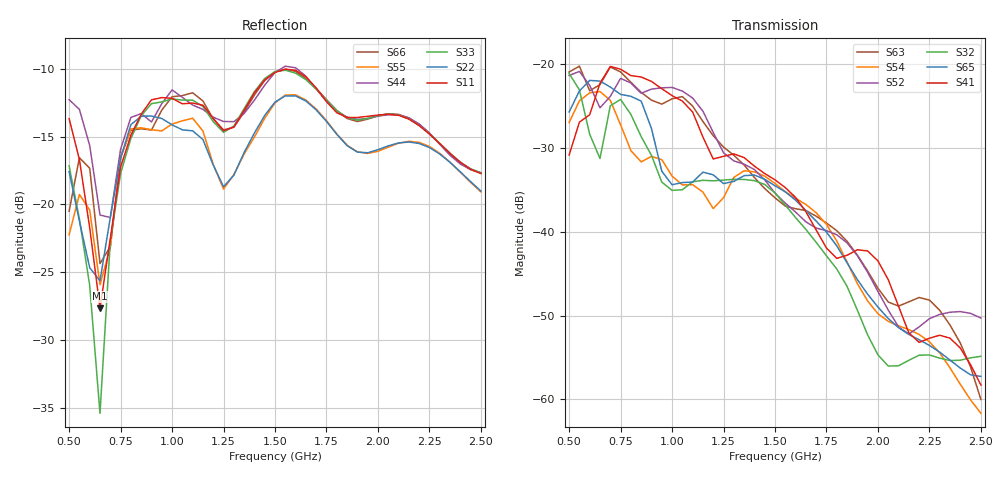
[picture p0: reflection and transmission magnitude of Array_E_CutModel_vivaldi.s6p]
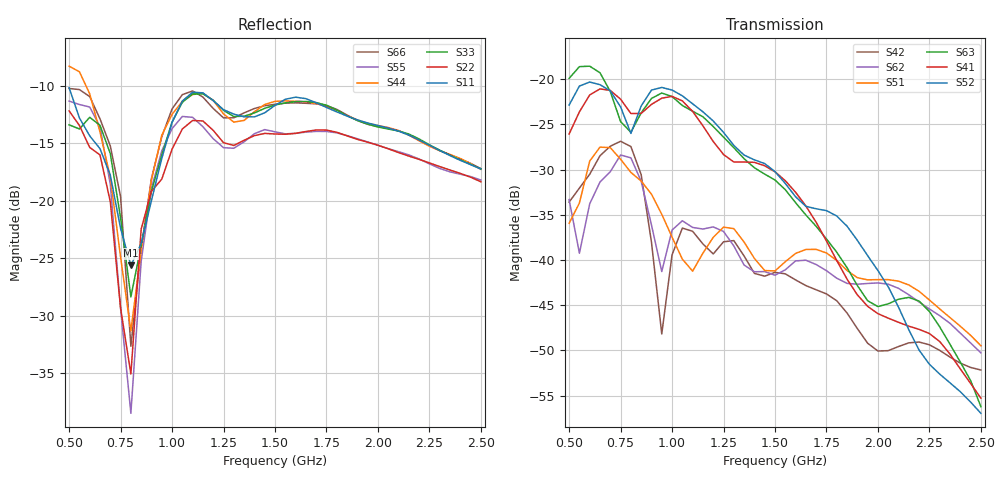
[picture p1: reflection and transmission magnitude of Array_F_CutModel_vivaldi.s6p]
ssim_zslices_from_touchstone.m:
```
% SSIM between FULL and EMPTY reconstructions, per z-slice, reading .s6p files.
% Standalone version: no MERIT.* calls needed.
% Run from:  cd ~/Desktop/MERIT ;  ssim_zslices_from_touchstone

clear; clc;

%% ------------------ Folder & file discovery ------------------
Folder   = pwd;
ants_file = fullfile(Folder,'antenna_locations.csv');

% Expected names (Empty = E, Full = F). If F missing, pick any other .s6p
s6p_empty = fullfile(Folder,'Array_E_CutModel_vivaldi.s6p');
s6p_full  = fullfile(Folder,'Array_F_CutModel_vivaldi.s6p');

if ~isfile(s6p_empty)
    error('Missing %s in %s (Empty case).', 'Array_E_CutModel_vivaldi.s6p', Folder);
end
if ~isfile(s6p_full)
    d = dir(fullfile(Folder,'*.s6p'));
    alt = setdiff(string(fullfile({d.folder},{d.name})), string(s6p_empty));
    if isempty(alt)
        error('Full .s6p not found. Expected Array_F_CutModel_vivaldi.s6p or another .s6p besides the E file.');
    end
    s6p_full = char(alt(1));
    fprintf('WARNING: using %s as FULL (Array_F_CutModel_vivaldi.s6p not found).\n', s6p_full);
end

%% ------------------ Imaging domain (ellipse "cut" model) ------------------
a = 0.1064;         % X semi-axis (m)
b = 0.1705;         % Y semi-axis (m)
height = 0.15;      % Z extent (m)
resolution = 2e-3;  % voxel spacing (m)
cutY = 0.140;       % crop in Y (m)

% Medium & slices
epsilon_r = 19.72;             % real relative permittivity
c0 = 299792458;                % m/s
v  = c0 / sqrt(epsilon_r);     % wave speed in medium
z_vals = 0:0.01:height;        % slices to evaluate

% Optional S-parameter magnitude floor (in dB)
threshold_dB = -50;            % set [] to disable

% Output GIFs
gif_ssim_maps    = fullfile(Folder,'ssim_maps.gif');
gif_full_slices  = fullfile(Folder,'full_slices.gif');
gif_empty_slices = fullfile(Folder,'empty_slices.gif');

%% ------------------ Load Touchstone with RF Toolbox ----------------------
try
    S_F = sparameters(s6p_full);
    S_E = sparameters(s6p_empty);
catch ME
    error(['Failed to read .s6p via RF Toolbox (sparameters). ' ...
           'Toolbox not found or file parse error.\n%s'], ME.message);
end

frequencies = S_F.Frequencies(:);                 % Hz
assert(isequal(size(S_E.Frequencies), size(frequencies)) && ...
       all(abs(S_E.Frequencies - frequencies) < 1e-9), ...
       'Full and Empty .s6p must share the same frequency grid.');

SF = S_F.Parameters;   % [6 x 6 x Nf] complex
SE = S_E.Parameters;

% Optional magnitude floor
if ~isempty(threshold_dB)
    SFdB = 20*log10(abs(SF));  SF(SFdB < threshold_dB) = 0;
    SEdB = 20*log10(abs(SE));  SE(SEdB < threshold_dB) = 0;
end

% Flatten to [Nf x 36] (row-major: S11,S12,...,S66) + channel list
num_ports = size(SF,1);    % 6
Nf        = numel(frequencies);
Nch       = num_ports^2;
scan_full  = zeros(Nf,Nch);
scan_empty = zeros(Nf,Nch);
channels   = zeros(Nch,2);
idx = 1;
for r = 1:num_ports
    for c = 1:num_ports
        scan_full(:,idx)  = squeeze(SF(r,c,:));
        scan_empty(:,idx) = squeeze(SE(r,c,:));
        channels(idx,:)   = [r c];   % [tx rx] port indices
        idx = idx + 1;
    end
end

%% ------------------ Antenna locations -------------------------
antenna_locations = readmatrix(ants_file);   % [x y z] in meters, one row per port (1..6)
assert(size(antenna_locations,2) >= 3, 'antenna_locations.csv must have >= 3 columns [x y z].');
assert(size(antenna_locations,1) >= num_ports, 'antenna_locations must have at least %d rows.', num_ports);

%% ------------------ Build imaging grid & indexers ------------------------
[xv, yv, zv] = deal(0:resolution:a, -cutY:resolution:cutY, 0:resolution:height);
[nx, ny, nz] = deal(numel(xv), numel(yv), numel(zv));
[X, Y, Z]    = meshgrid(xv, yv, zv);       % Note: meshgrid returns Y,X,Z arrangement for images; we'll index carefully

% Elliptical mask on each Z
mask = (X./a).^2 + (Y./b).^2 <= 1;

% Linearized list of voxel centers inside ellipse
pts = [X(mask), Y(mask), Z(mask)];          % [Npts x 3]

% Build a mapping from voxel coords to linear index in a 3D array
img_full_grid  = nan(nx, ny, nz);           % we'll fill [ix,iy,iz] later
img_empty_grid = nan(nx, ny, nz);

% Precompute index triples for masked points
[ix_all, iy_all, iz_all] = ind2sub([nx,ny,nz], find(mask));
idx_pts = find(mask); %#ok<NASGU> % (not needed but kept for clarity)

%% ------------------ Standalone DAS beamforming ---------------------------
% Frequency wavenumbers in medium
k = 2*pi*frequencies / v;      % [Nf x 1], rad/m

% Precompute antenna positions
ant_pos = antenna_locations(1:num_ports, 1:3);  % [Nports x 3]

% For each channel (tx,rx), compute total path length to each voxel:
% L(p) = ||r_voxel - r_tx|| + ||r_voxel - r_rx||
% Then coherent sum over frequencies with the phase term exp(-1j * k * L)
% and weight by the complex S-parameter value at each frequency.

Npts = size(pts,1);
img_full_vals  = zeros(Npts,1);
img_empty_vals = zeros(Npts,1);

for ch = 1:Nch
    tx = channels(ch,1);
    rx = channels(ch,2);
    rt = ant_pos(tx,:);       % [1x3]
    rr = ant_pos(rx,:);       % [1x3]

    % Distances to all voxels (vectorized)
    dt = sqrt(sum((pts - rt).^2, 2));   % [Npts x 1]
    dr = sqrt(sum((pts - rr).^2, 2));   % [Npts x 1]
    L  = dt + dr;                        % [Npts x 1]

    % Phase term for all (freq, voxel): exp(-j * k(f) * L(voxel))
    % Compute as outer product: k [Nf x 1] and L' [1 x Npts]
    phase = exp(-1j * (k * L.'));        % [Nf x Npts]

    % Apply S-parameters at this channel across frequency and sum coherently
    img_full_vals  = img_full_vals  + (phase.' * scan_full(:,ch));   % [Npts x 1]
    img_empty_vals = img_empty_vals + (phase.' * scan_empty(:,ch));  % [Npts x 1]
end

% Magnitude image
img_full_vals  = abs(img_full_vals);
img_empty_vals = abs(img_empty_vals);

% Place values back onto a 3D grid (only at masked indices)
for n = 1:numel(ix_all)
    img_full_grid(ix_all(n),  iy_all(n),  iz_all(n))  = img_full_vals(n);
    img_empty_grid(ix_all(n), iy_all(n), iz_all(n))   = img_empty_vals(n);
end

% Shared normalization for fair SSIM
global_max = max([max(img_full_vals), max(img_empty_vals)]);
if global_max == 0, global_max = 1; end

%% ------------------ SSIM per z-slice + GIFs -------------------
if isempty(which('ssim'))
    error('The "ssim" function requires the Image Processing Toolbox.');
end

ssim_vals = zeros(numel(z_vals),1);
firstFrame = true;

% Find the z indices closest to requested z_vals
[~, iz_req] = arrayfun(@(z0) min(abs(zv - z0)), z_vals);

for kk = 1:numel(z_vals)
    iz = iz_req(kk);
    z0 = zv(iz);

    % Extract slices in X-Y at fixed Z index
    A = squeeze(img_full_grid(:,:,iz)).';    % [ny x nx] -> transpose so x on horizontal axis, y vertical
    B = squeeze(img_empty_grid(:,:,iz)).';

    % Normalize to [0,1] using global max
    A = A / global_max;  B = B / global_max;

    % Replace NaNs (outside ellipse) with 0 for SSIM math; use alpha to visualize holes
    A_for_ssim = A;  B_for_ssim = B;
    A_for_ssim(~isfinite(A_for_ssim)) = 0;
    B_for_ssim(~isfinite(B_for_ssim)) = 0;

    [val, ssim_map] = ssim(A_for_ssim, B_for_ssim);
    ssim_vals(kk) = val;

    % ---------- SSIM map GIF ----------
    f1 = figure('Visible','off');
    imagesc(xv, yv, ssim_map); axis image; set(gca,'YDir','normal');
    title(sprintf('SSIM map at z = %.2f m (SSIM = %.3f)', z0, val));
    xlabel('X (m)'); ylabel('Y (m)'); colorbar; caxis([0 1]);
    frame = getframe(f1); [imind, cm] = rgb2ind(frame2im(frame), 256);
    if firstFrame, imwrite(imind, cm, gif_ssim_maps, 'gif', 'LoopCount', inf, 'DelayTime', 0.25);
    else,         imwrite(imind, cm, gif_ssim_maps, 'gif', 'WriteMode', 'append', 'DelayTime', 0.25); end
    close(f1);

    % ---------- FULL slice GIF ----------
    f2 = figure('Visible','off');
    imagesc(xv, yv, A); axis image; set(gca,'YDir','normal');
    title(sprintf('FULL slice (norm) at z = %.2f m', z0));
    xlabel('X (m)'); ylabel('Y (m)'); colorbar; caxis([0 1]);
    frame = getframe(f2); [imind, cm] = rgb2ind(frame2im(frame), 256);
    if firstFrame, imwrite(imind, cm, gif_full_slices, 'gif', 'LoopCount', inf, 'DelayTime', 0.25);
    else,         imwrite(imind, cm, gif_full_slices, 'gif', 'WriteMode', 'append', 'DelayTime', 0.25); end
    close(f2);

    % ---------- EMPTY slice GIF ----------
    f3 = figure('Visible','off');
    imagesc(xv, yv, B); axis image; set(gca,'YDir','normal');
    title(sprintf('EMPTY slice (norm) at z = %.2f m', z0));
    xlabel('X (m)'); ylabel('Y (m)'); colorbar; caxis([0 1]);
    frame = getframe(f3); [imind, cm] = rgb2ind(frame2im(frame), 256);
    if firstFrame, imwrite(imind, cm, gif_empty_slices, 'gif', 'LoopCount', inf, 'DelayTime', 0.25);
    else,         imwrite(imind, cm, gif_empty_slices, 'gif', 'WriteMode', 'append', 'DelayTime', 0.25); end
    close(f3);

    firstFrame = false;
end

%% ------------------ Summary: SSIM vs depth --------------------
figure;
plot(z_vals, ssim_vals, 'o-','LineWidth',1.5);
xlabel('z (m)'); ylabel('SSIM (FULL vs EMPTY)'); grid on;
title('Per-slice SSIM across depth');

fprintf('\nMean SSIM over slices: %.4f\n', mean(ssim_vals));
[bestSSIM, idxBest] = max(ssim_vals);
fprintf('Best SSIM: %.4f at z = %.3f m\n', bestSSIM, z_vals(idxBest));
```
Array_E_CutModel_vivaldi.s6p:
! Touchstone file exported from HFSS 2023.2.0
!  File:  C:/Users/aapoi/Documents/Escuela/Maestria/EMT/HFSS/Array_E_CutModel_vivaldi.aedt
!  Generated:  12:43:40 PM  Aug 18, 2025
!  Design:  HFSSDesign1
!  Project:  Array_E_CutModel_vivaldi
!  Setup:  Setup1
!  Solution:  Sweep
! Variables:
!  $Bladder_Full_X_Shift = 2.5cm
!  $Bladder_Full_Z_Shift = 3cm
!  $Bladder_shift_from_PB = 35mm
!  $Pubic_Bone_Angle = 55deg
!  $ant_bottom_shift = 25mm
!  $ant_rot = 18.5deg
!  $ant_spacing = 20mm
!  $ant_sweep_shift = 5mm
!  $anteposterior_diameter = 10.49cm
!  $axial_bladder_diam = 44mm
!  $back_pelvic_bone_height = 0.1125meter
!  $back_pelvic_bone_rectangle_Xshift = 64.3578981445632mm
!  $backset = 0mm
!  $bladder_wall_thickness = 3.15mm
!  $body_axial_ratio = 1.59973110444618
!  $body_major_rad = 10.6361cm
!  $body_minor_rad = 17.0149cm
!  $center_bladder_rad = 0.073838504391812meter
!  $coccyx_thickness = -15.5mm
!  $coccyx_tip_width = 10mm
!  $cone_angle_sacrococcyx = 33.56deg
!  $coronal_bladder_diam = 37mm
!  $end_u = 450deg
!  $end_v = 270deg
!  $fat_thickness = 13.5031018554368mm
!  $front_pelvic_bone_height = 55mm
!  $horizontal_shift = 40mm
!  $horizontal_spacing = 50mm
!  $mix_major_rad = 0.0808578981445632meter
!  $model_height = 0.15meter
!  $muscle_thickness = 0.01meter
!  $pelvis_angle = 55deg
!  $pubic_bone_thickness = 16.5mm
!  $rad_curve_back_bones = 89.2mm
!  $sacrum_top_width = 88mm
!  $sagittal_bladder_diam = 35mm
!  $side_ant_offset = -5.44mm
!  $skin_thickness = 0.002meter
!  $start_u = 90deg
!  $start_v = 90deg
!  $striaght_sacrococcyx_length = 126mm
!  $transverse_diameter = 13cm
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# GHz S MA R 50.000000
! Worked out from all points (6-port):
!   41 points, 500 MHz to 2.5 GHz, reference 50 ohm
!   strongest paths, dB at 500 MHz, 1 GHz, 1.5 GHz, 2 GHz, 2.5 GHz:
!     S41: -30.9, -23.8, -33.8, -43.5, -58.3
!     S65: -25.7, -34.4, -34.5, -49.0, -57.3
!     S32: -21.2, -35.1, -35.4, -54.7, -54.9
!     S52: -21.4, -22.8, -35.4, -47.1, -50.3
!     S54: -27.0, -33.4, -34.3, -49.8, -61.7
!     S63: -21.0, -24.2, -36.0, -46.7, -60.0
!   lowest |S11| = -27.6 dB at 650 MHz (marker M1), VSWR 1.09, Z = 46.4 + j1.71 ohm
!   |S11| at or under -10 dB: start of sweep to end of sweep
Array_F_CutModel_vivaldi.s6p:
! Touchstone file exported from HFSS 2023.2.0
!  File:  C:/Users/aapoi/Documents/Escuela/Maestria/EMT/HFSS/Array_F_CutModel_vivaldi.aedt
!  Generated:  12:48:58 PM  Aug 18, 2025
!  Design:  HFSSDesign1
!  Project:  Array_F_CutModel_vivaldi
!  Setup:  Setup1
!  Solution:  Sweep
! Variables:
!  $Bladder_Full_X_Shift = 2.5cm
!  $Bladder_Full_Z_Shift = 3cm
!  $Bladder_shift_from_PB = 35mm
!  $Pubic_Bone_Angle = 55deg
!  $ant_base_offset = 25mm
!  $ant_rot = 8.59788deg
!  $ant_sweep_shift = 25mm
!  $anteposterior_diameter = 10.49cm
!  $axial_bladder_diam = 80mm
!  $back_pelvic_bone_height = 0.1125meter
!  $back_pelvic_bone_rectangle_Xshift = 64.3578981445632mm
!  $bladder_wall_thickness = 3.15mm
!  $body_axial_ratio = 1.59973110444618
!  $body_major_rad = 10.6361cm
!  $body_minor_rad = 17.0149cm
!  $center_bladder_rad = 0.073838504391812meter
!  $coccyx_thickness = -15.5mm
!  $coccyx_tip_width = 10mm
!  $cone_angle_sacrococcyx = 33.56deg
!  $coronal_bladder_diam = 80mm
!  $end_u = 450deg
!  $end_v = 270deg
!  $fat_thickness = 13.5031018554368mm
!  $front_pelvic_bone_height = 55mm
!  $mix_major_rad = 0.0808578981445632meter
!  $model_height = 0.15meter
!  $muscle_thickness = 0.01meter
!  $pelvis_angle = 55deg
!  $pubic_bone_thickness = 16.5mm
!  $rad_curve_back_bones = 89.2mm
!  $sacrum_top_width = 88mm
!  $sagittal_bladder_diam = 100mm
!  $skin_thickness = 0.002meter
!  $start_u = 90deg
!  $start_v = 90deg
!  $striaght_sacrococcyx_length = 126mm
!  $transverse_diameter = 13cm
!  $x_bladder_rad = 50mm
!  $y_bladder_rad = 40mm
!  $z_bladder_rad = 40mm
!  Ad = 1mm
!  An = 5.5mm
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# GHz S MA R 50.000000
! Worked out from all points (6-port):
!   41 points, 500 MHz to 2.5 GHz, reference 50 ohm
!   strongest paths, dB at 500 MHz, 1 GHz, 1.5 GHz, 2 GHz, 2.5 GHz:
!     S52: -22.9, -21.2, -30.2, -41.2, -57.0
!     S41: -26.1, -21.9, -30.2, -45.9, -55.3
!     S63: -19.9, -21.9, -31.1, -45.2, -56.2
!     S51: -35.9, -37.5, -41.2, -42.2, -49.5
!     S62: -33.3, -36.7, -41.7, -42.5, -50.3
!     S42: -33.6, -39.4, -41.4, -50.1, -52.2
!   lowest |S11| = -25.6 dB at 800 MHz (marker M1), VSWR 1.11, Z = 50.1 - j5.25 ohm
!   |S11| at or under -10 dB: start of sweep to end of sweep
